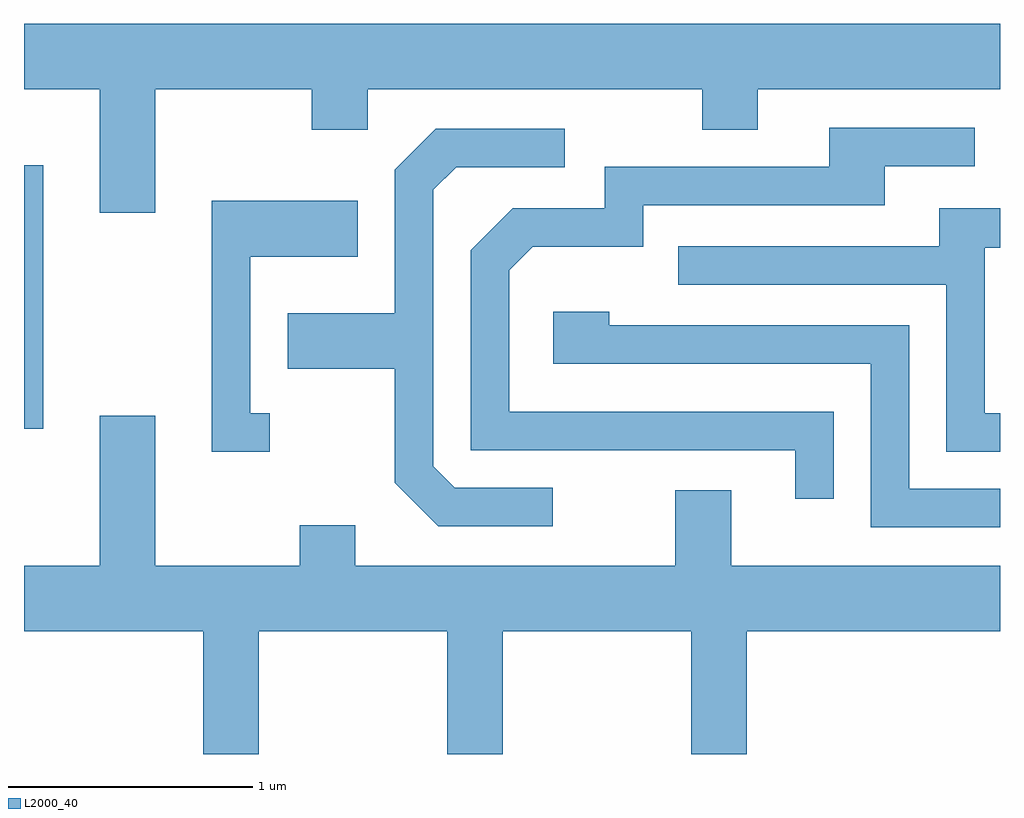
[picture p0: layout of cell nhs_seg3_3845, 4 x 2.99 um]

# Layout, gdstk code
import gdstk
lib = gdstk.Library(unit=1e-6, precision=1e-09)
def R(c, l, rs):  # rectangles x0, y0, x1, y1
    for r in rs: c.add(gdstk.rectangle(r[:2], r[2:], *l))
def P(c, l, *ps):  # polygons
    for p in ps: c.add(gdstk.Polygon(p, *l))
L2000_40 = (2000, 40)

nhs_seg3_3845 = lib.new_cell('nhs_seg3_3845')
R(nhs_seg3_3845, L2000_40, [(297.611,1191.226,297.689,1192.304)])
P(nhs_seg3_3845, L2000_40, [(298.149,1192.616),(298.791,1192.616),(298.791,1192.451),(299.019,1192.451),(299.019,1192.616),(300.391,1192.616),(300.391,1192.451),(300.619,1192.451),(300.619,1192.616),(301.611,1192.616),(301.611,1192.884),(297.611,1192.884),(297.611,1192.616),(297.921,1192.616),(297.921,1192.111),(298.149,1192.111)],
  [(300.929,1191.294),(299.599,1191.294),(299.599,1191.874),(299.697,1191.971),(300.149,1191.971),(300.149,1192.141),(301.139,1192.141),(301.139,1192.301),(301.508,1192.301),(301.508,1192.459),(300.911,1192.459),(300.911,1192.299),(299.991,1192.299),(299.991,1192.129),(299.614,1192.129),(299.441,1191.957),(299.441,1191.136),(300.771,1191.136),(300.771,1190.938),(300.929,1190.938)],
  [(299.778,1190.984),(299.377,1190.984),(299.289,1191.072),(299.289,1192.204),(299.382,1192.296),(299.828,1192.296),(299.828,1192.454),(299.299,1192.454),(299.131,1192.287),(299.131,1191.699),(298.691,1191.699),(298.691,1191.471),(299.131,1191.471),(299.131,1191.004),(299.309,1190.826),(299.778,1190.826)],
  [(298.618,1191.289),(298.539,1191.289),(298.539,1191.931),(298.979,1191.931),(298.979,1192.159),(298.381,1192.159),(298.381,1191.131),(298.618,1191.131)],
  [(301.611,1191.289),(301.549,1191.289),(301.549,1191.966),(301.611,1191.966),(301.611,1192.129),(301.361,1192.129),(301.361,1191.974),(300.293,1191.974),(300.293,1191.816),(301.391,1191.816),(301.391,1191.131),(301.611,1191.131)],
  [(301.611,1190.979),(301.239,1190.979),(301.239,1191.649),(300.009,1191.649),(300.009,1191.704),(299.781,1191.704),(299.781,1191.491),(301.081,1191.491),(301.081,1190.821),(301.611,1190.821)],
  [(298.574,1190.396),(299.346,1190.396),(299.346,1189.892),(299.574,1189.892),(299.574,1190.396),(300.346,1190.396),(300.346,1189.892),(300.574,1189.892),(300.574,1190.396),(301.611,1190.396),(301.611,1190.664),(300.509,1190.664),(300.509,1190.974),(300.281,1190.974),(300.281,1190.664),(298.969,1190.664),(298.969,1190.829),(298.741,1190.829),(298.741,1190.664),(298.149,1190.664),(298.149,1191.279),(297.921,1191.279),(297.921,1190.664),(297.611,1190.664),(297.611,1190.396),(298.346,1190.396),(298.346,1189.892),(298.574,1189.892)])

lib.write_gds('nhs_seg3_3845.gds')
